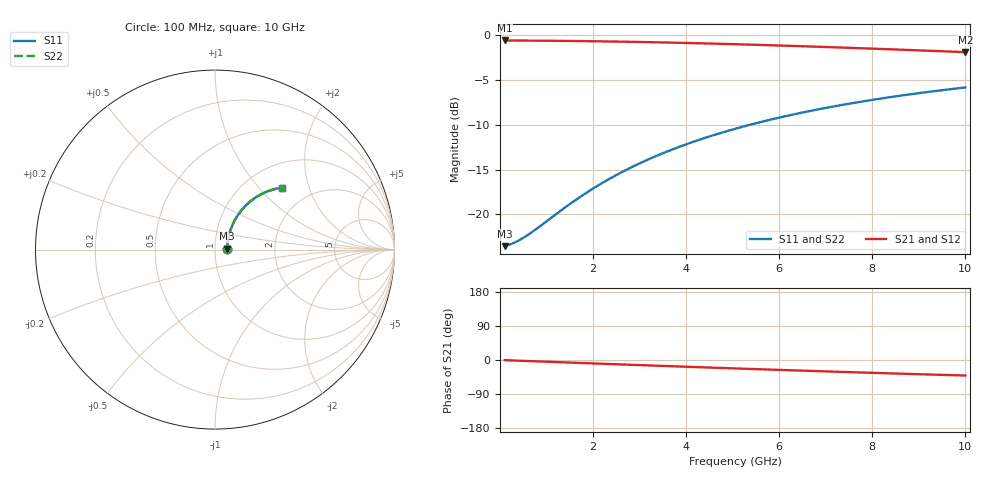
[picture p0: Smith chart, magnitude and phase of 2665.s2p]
# Hz S RI R 50.00
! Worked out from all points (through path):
!   100 points, 100 MHz to 10 GHz, reference 50 ohm
!   highest |S21| = -0.60 dB at 100 MHz (marker M1); lowest = -1.9 dB at 10 GHz (marker M2)
!   group delay of S21, straight-line fit = 11.4 ps
!   lowest |S11| = -23.5 dB at 100 MHz (marker M3), VSWR 1.14, Z = 57.1 + j0.644 ohm
!   |S11| at or under -10 dB: start of sweep to 5.375 GHz
!   |S22| runs from -23.5 to -5.8 dB; largest |S21 - S12| = 0
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1e8  0.0662 0.00562  0.9338 -0.0074  0.9338 -0.0074  0.0662 0.00562
2e8  0.0668 0.0112  0.9332 -0.0148  0.9332 -0.0148  0.0668 0.0112
3e8  0.0673 0.0168  0.9327 -0.0222  0.9327 -0.0222  0.0673 0.0168
4e8  0.0678 0.0224  0.9321 -0.0295  0.9321 -0.0295  0.0678 0.0224
6e8  0.0691 0.0335  0.9308 -0.0443  0.9308 -0.0443  0.0691 0.0335
8e8  0.0707 0.0446  0.9292 -0.0589  0.9292 -0.0589  0.0707 0.0446
1.4e9  0.0771 0.0774  0.9225 -0.1024  0.9225 -0.1024  0.0771 0.0774
1.8e9  0.083 0.0987  0.9164 -0.1309  0.9164 -0.1309  0.083 0.0987
2.2e9  0.0902 0.1196  0.909 -0.1589  0.909 -0.1589  0.0902 0.1196
2.6e9  0.0985 0.1398  0.9003 -0.1863  0.9003 -0.1863  0.0985 0.1398
3e9  0.108 0.1593  0.8905 -0.213  0.8905 -0.213  0.108 0.1593
3.4e9  0.1186 0.1781  0.8795 -0.2389  0.8795 -0.2389  0.1186 0.1781
3.8e9  0.1302 0.196  0.8674 -0.264  0.8674 -0.264  0.1302 0.196
4.2e9  0.1426 0.213  0.8544 -0.2882  0.8544 -0.2882  0.1426 0.213
4.6e9  0.156 0.229  0.8405 -0.3115  0.8405 -0.3115  0.156 0.229
5.1e9  0.1737 0.2477  0.8219 -0.3392  0.8219 -0.3392  0.1737 0.2477
5.9e9  0.2041 0.2742  0.7901 -0.3802  0.7901 -0.3802  0.2041 0.2742
6.7e9  0.2363 0.2964  0.7561 -0.417  0.7561 -0.417  0.2363 0.2964
7.5e9  0.2697 0.3145  0.7207 -0.4497  0.7207 -0.4497  0.2697 0.3145
8.4e9  0.3081 0.3299  0.6799 -0.4817  0.6799 -0.4817  0.3081 0.3299
9.2e9  0.3422 0.3394  0.6432 -0.5061  0.6432 -0.5061  0.3422 0.3394
1e10  0.376 0.3453  0.6068 -0.5269  0.6068 -0.5269  0.376 0.3453
